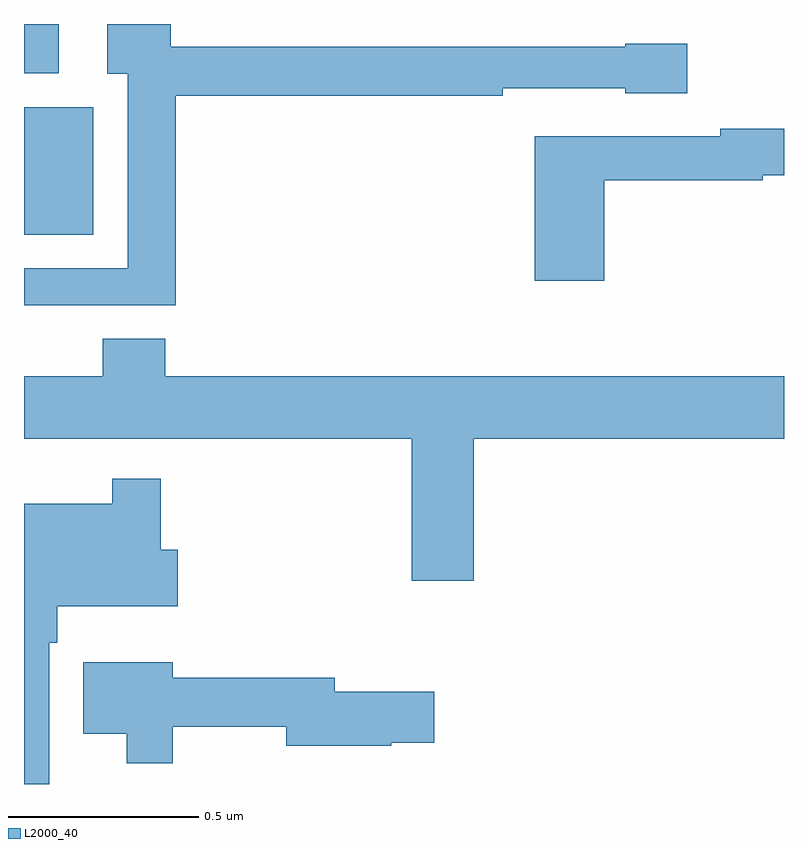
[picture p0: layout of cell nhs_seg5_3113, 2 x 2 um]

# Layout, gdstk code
import gdstk
lib = gdstk.Library(unit=1e-6, precision=1e-09)
def R(c, l, rs):  # rectangles x0, y0, x1, y1
    for r in rs: c.add(gdstk.rectangle(r[:2], r[2:], *l))
def P(c, l, *ps):  # polygons
    for p in ps: c.add(gdstk.Polygon(p, *l))
L2000_40 = (2000, 40)

nhs_seg5_3113 = lib.new_cell('nhs_seg5_3113')
R(nhs_seg5_3113, L2000_40, [(152,909.245,152.182,909.58), (152,909.669,152.092,909.799)])
P(nhs_seg5_3113, L2000_40, [(152.399,909.61),(153.26,909.61),(153.26,909.63),(153.582,909.63),(153.582,909.617),(153.745,909.617),(153.745,909.747),(153.582,909.747),(153.582,909.739),(152.386,909.739),(152.386,909.799),(152.219,909.799),(152.219,909.668),(152.273,909.668),(152.273,909.156),(152,909.156),(152,909.059),(152.399,909.059)],
  [(153.527,909.388),(153.944,909.388),(153.944,909.401),(154,909.401),(154,909.524),(153.832,909.524),(153.832,909.504),(153.344,909.504),(153.344,909.123),(153.527,909.123)],
  [(152.207,908.971),(152.207,908.872),(152,908.872),(152,908.708),(153.02,908.708),(153.02,908.334),(153.184,908.334),(153.184,908.708),(154,908.708),(154,908.872),(152.372,908.872),(152.372,908.971)],
  [(152.067,908.171),(152.087,908.171),(152.087,908.267),(152.404,908.267),(152.404,908.415),(152.36,908.415),(152.36,908.602),(152.232,908.602),(152.232,908.536),(152,908.536),(152,907.799),(152.067,907.799)],
  [(152.392,907.95),(152.69,907.95),(152.69,907.9),(152.966,907.9),(152.966,907.907),(153.079,907.907),(153.079,908.042),(152.818,908.042),(152.818,908.078),(152.392,908.078),(152.392,908.119),(152.156,908.119),(152.156,907.931),(152.27,907.931),(152.27,907.853),(152.392,907.853)])

lib.write_gds('nhs_seg5_3113.gds')
